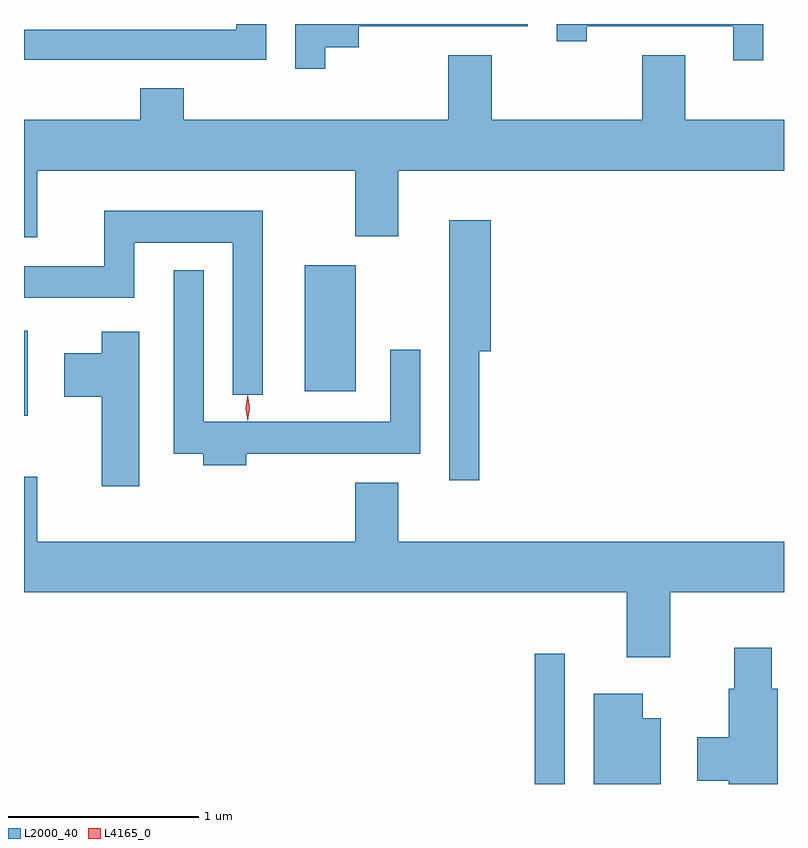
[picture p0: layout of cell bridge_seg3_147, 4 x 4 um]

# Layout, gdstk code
import gdstk
lib = gdstk.Library(unit=1e-6, precision=1e-09)
def R(c, l, rs):  # rectangles x0, y0, x1, y1
    for r in rs: c.add(gdstk.rectangle(r[:2], r[2:], *l))
def P(c, l, *ps):  # polygons
    for p in ps: c.add(gdstk.Polygon(p, *l))
L2000_40 = (2000, 40)
L4165_0 = (4165, 0)

bridge_seg3_147 = lib.new_cell('bridge_seg3_147')
R(bridge_seg3_147, L2000_40, [(879.136,1187.168,879.294,1187.853), (876.448,1189.106,876.469,1189.554), (877.926,1189.236,878.194,1189.899)])
P(bridge_seg3_147, L2000_40, [(877.724,1191.168),(877.566,1191.168),(877.566,1191.139),(876.448,1191.139),(876.448,1190.981),(877.724,1190.981)],
  [(878.034,1191.046),(878.209,1191.046),(878.209,1191.156),(879.099,1191.156),(879.099,1191.168),(877.876,1191.168),(877.876,1190.933),(878.034,1190.933)],
  [(880.339,1191.168),(879.251,1191.168),(879.251,1191.078),(879.409,1191.078),(879.409,1191.156),(880.181,1191.156),(880.181,1190.978),(880.339,1190.978)],
  [(876.448,1190.046),(876.519,1190.046),(876.519,1190.396),(878.191,1190.396),(878.191,1190.051),(878.419,1190.051),(878.419,1190.396),(880.448,1190.396),(880.448,1190.664),(879.929,1190.664),(879.929,1191.004),(879.701,1191.004),(879.701,1190.664),(878.909,1190.664),(878.909,1191.004),(878.681,1191.004),(878.681,1190.664),(877.289,1190.664),(877.289,1190.829),(877.061,1190.829),(877.061,1190.664),(876.448,1190.664)],
  [(877.704,1190.184),(876.871,1190.184),(876.871,1189.894),(876.448,1189.894),(876.448,1189.726),(877.029,1189.726),(877.029,1190.016),(877.546,1190.016),(877.546,1189.218),(877.704,1189.218)],
  [(878.844,1189.446),(878.904,1189.446),(878.904,1190.134),(878.686,1190.134),(878.686,1188.768),(878.844,1188.768)],
  [(877.619,1188.906),(878.534,1188.906),(878.534,1189.453),(878.376,1189.453),(878.376,1189.074),(877.394,1189.074),(877.394,1189.873),(877.236,1189.873),(877.236,1188.906),(877.391,1188.906),(877.391,1188.846),(877.619,1188.846)],
  [(877.054,1189.549),(876.856,1189.549),(876.856,1189.434),(876.661,1189.434),(876.661,1189.206),(876.856,1189.206),(876.856,1188.736),(877.054,1188.736)],
  [(879.849,1188.176),(880.448,1188.176),(880.448,1188.444),(878.419,1188.444),(878.419,1188.754),(878.191,1188.754),(878.191,1188.444),(876.519,1188.444),(876.519,1188.784),(876.448,1188.784),(876.448,1188.176),(879.621,1188.176),(879.621,1187.836),(879.849,1187.836)],
  [(880.414,1187.669),(880.384,1187.669),(880.384,1187.884),(880.186,1187.884),(880.186,1187.669),(880.156,1187.669),(880.156,1187.414),(879.991,1187.414),(879.991,1187.186),(880.156,1187.186),(880.156,1187.168),(880.414,1187.168)],
  [(879.799,1187.514),(879.704,1187.514),(879.704,1187.644),(879.446,1187.644),(879.446,1187.168),(879.799,1187.168)])
P(bridge_seg3_147, L4165_0, [(877.625,1189.077),(877.625,1189.078),(877.615,1189.147),(877.625,1189.216),(877.625,1189.216),(877.626,1189.216),(877.635,1189.147),(877.626,1189.078)],
  [(877.625,1189.079),(877.625,1189.08),(877.615,1189.146),(877.625,1189.212),(877.625,1189.213),(877.626,1189.212),(877.635,1189.146),(877.626,1189.08)])

lib.write_gds('bridge_seg3_147.gds')
